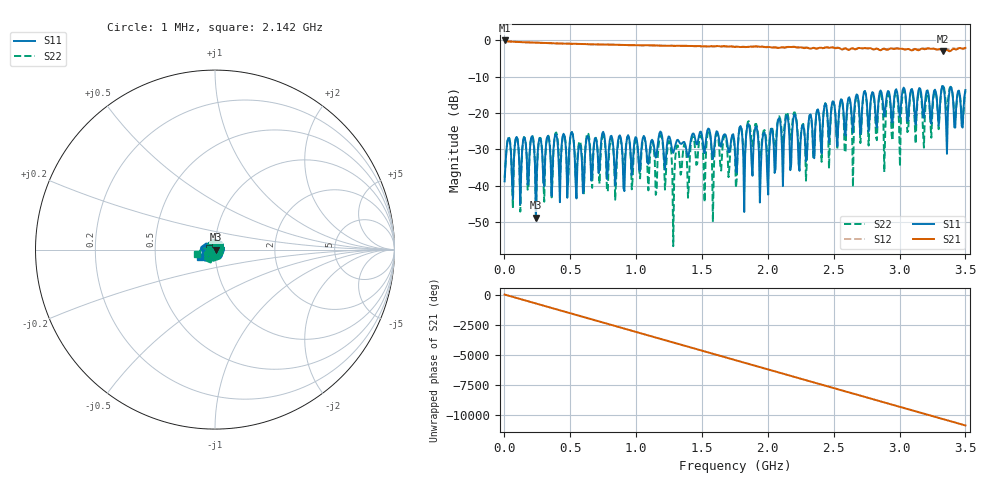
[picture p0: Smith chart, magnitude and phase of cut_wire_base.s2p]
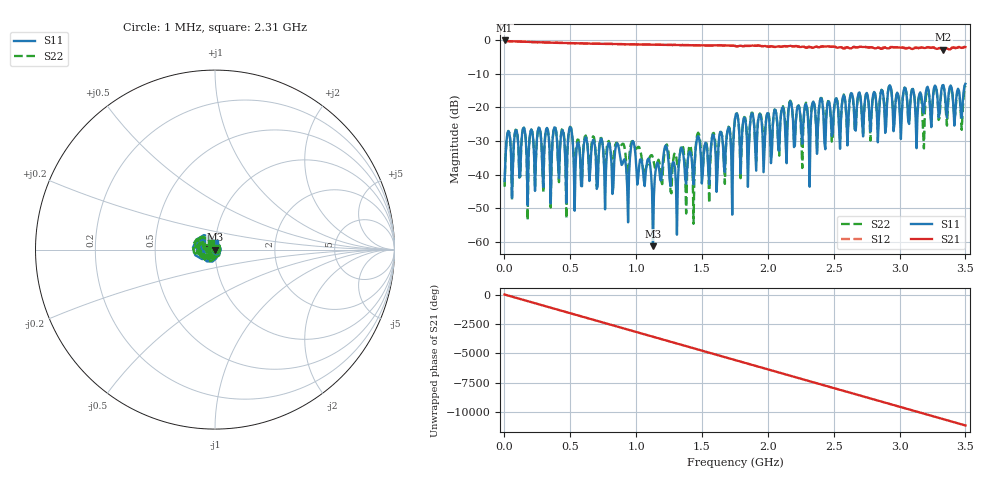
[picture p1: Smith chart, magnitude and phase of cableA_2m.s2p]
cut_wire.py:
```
#%%
# import serdespy as sdp
import numpy as np
import matplotlib.pyplot as plt
import skrf as rf
import scipy as sp


# %%

cable_cut_wire_base =       './sparams/cut/cut_wire_base.s2p'
cable_cut_wire_copper =     './sparams/cut/cut_wire_copper.s2p'
cable_cut_wire_bare =       './sparams/cut/cut_wire_copper_bare.s2p'
cable_cut_wire_copper_ur1 = './sparams/cut/cut_wire_copper_ur1.s2p'
cable_cut_wire_copper_ur2 = './sparams/cut/cut_wire_copper_ur2.s2p'
cable_cut_wire_copper_ur3 = './sparams/cut/cut_wire_copper_ur3.s2p'



# %%
nw = rf.Network('./sparams/cableA_2m.s2p')
nw.s22.plot_z_time_step(0, 0, label='meas')
plt.ylim([45, 55])
# nw.s22.plot_s_db()
plt.grid(True)
# %%

nw1 = rf.Network(cable_cut_wire_base)
nw2 = rf.Network(cable_cut_wire_copper)
nw3 = rf.Network(cable_cut_wire_copper_ur1)
nw4 = rf.Network(cable_cut_wire_copper_ur2)
nw5 = rf.Network(cable_cut_wire_copper_ur3)
nw6 = rf.Network(cable_cut_wire_bare)

nw1.s22.plot_s_db(linewidth = 1)
nw2.s22.plot_s_db(linewidth = 1)
nw3.s22.plot_s_db(linewidth = 1)
nw4.s22.plot_s_db(linewidth = 1)
nw5.s22.plot_s_db(linewidth = 1)
nw6.s22.plot_s_db(linewidth = 1)

plt.grid(True)

import numpy as np
import matplotlib.pyplot as plt


def channel_gmsl2(f):
    if f >= 2e6 and f < 10e6:
        return -6 - 0.9 * np.sqrt(f * 1e-6)
    elif f >= 10e6 and f < 200e6:
        return -(14.2 + 0.28 * np.sqrt(f * 1e-6) + 0.8 * (f * 1e-9))
    elif f >= 200e6 and f < 400e6:
        return -18.3 + 0.02 * ((f * 1e-6) - 200)
    elif f >= 400e6 and f < 1.5e9:
        return 5.7e-3 * (f * 1e-6) - 16.6
    elif f >= 1.5e9 and f < 3.5e9:
        return -8
    
def channel_gmsl3_short(f):
    if f >= 2e6 and f < 10e6:
        return -9 - 0.9 * (f * 1e-6)
    elif f >= 10e6 and f < 800e6:
        return -18
    elif f >= 800e6 and f < 3e9:
        return -16.9 + 8 * (f * 1e-9 - 1) / 1.5
    elif f >= 3e9 and f < 3.5e9:
        return -6.2
    
def channel_gmsl3_long(f):
    if f >= 2e6 and f < 10e6:
        return -9 - 0.9 * (f * 1e-6)
    elif f >= 10e6 and f < 1e9:
        return -18
    elif f >= 1e9 and f < 2.5e9:
        return -23.33 + 5.33 * (f * 1e-9)
    elif f >= 2.5e9 and f < 3.5e9:
        return -10


f = np.arange(2e6, 3.5e9, 1e4)
il_gmsl2 = np.vectorize(channel_gmsl2)(f)
il_gmsl3_short = np.vectorize(channel_gmsl3_short)(f)
il_gmsl3_long = np.vectorize(channel_gmsl3_long)(f)


plt.plot(f, il_gmsl2, 'r-')
plt.plot(f, il_gmsl3_short, 'k-')
plt.plot(f, il_gmsl3_long, 'g-')


plt.title('Maximum Pin-to-Pin Return Loss')
plt.xlabel('Frequency (GHz)')
plt.ylabel('Return Loss (dB)')
plt.axis([0, 3.5e9, -50, 0])
plt.grid(True)
plt.show()


# %%
```
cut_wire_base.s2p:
# GHZ S RI R 50.000000000000
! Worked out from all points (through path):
!   501 points, 1 MHz to 3.5 GHz, reference 50 ohm
!   highest |S21| = -0.02 dB at 1 MHz (marker M1); lowest = -3.0 dB at 3.332 GHz (marker M2)
!   group delay of S21, straight-line fit = 8.65 ns
!   lowest |S11| = -48.8 dB at 238.9 MHz (marker M3), VSWR 1.01, Z = 50.4 + j0.00122 ohm
!   |S11| at or under -10 dB: start of sweep to end of sweep
!   |S22| runs from -56.7 to -12.3 dB; largest |S21 - S12| = 0.046
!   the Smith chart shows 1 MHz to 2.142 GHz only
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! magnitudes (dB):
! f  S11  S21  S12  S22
! 1 MHz  -38.8  0.0  0.0  -37.8
! 210.9 MHz  -26.4  -0.6  -0.6  -26.2
! 238.9 MHz  -48.8  -0.6  -0.6  -49.5
! 392.9 MHz  -25.9  -0.8  -0.8  -25.4
! 595.8 MHz  -42.1  -1.0  -1.0  -40.2
! 1.191 GHz  -25.4  -1.5  -1.5  -26.2
! 1.282 GHz  -31.0  -1.5  -1.5  -56.7
! 1.429 GHz  -25.7  -1.5  -1.6  -26.5
! 1.75 GHz  -30.1  -1.8  -1.7  -31.5
! 3.332 GHz  -12.7  -3.0  -2.7  -12.3
! 3.5 GHz  -13.7  -2.0  -2.2  -13.9
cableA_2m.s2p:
# GHZ S RI R 50.000000000000
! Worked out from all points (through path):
!   501 points, 1 MHz to 3.5 GHz, reference 50 ohm
!   highest |S21| = -0.05 dB at 1 MHz (marker M1); lowest = -2.8 dB at 3.332 GHz (marker M2)
!   group delay of S21, straight-line fit = 8.81 ns
!   lowest |S11| = -61.3 dB at 1.128 GHz (marker M3), VSWR 1.00, Z = 50 - j0.0795 ohm
!   |S11| at or under -10 dB: start of sweep to end of sweep
!   |S22| runs from -54.6 to -13.4 dB; largest |S21 - S12| = 0.029
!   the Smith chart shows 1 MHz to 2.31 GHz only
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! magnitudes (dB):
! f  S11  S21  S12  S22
! 1 MHz  -41.9  0.0  -0.1  -43.6
! 28.99 MHz  -27.0  -0.2  -0.3  -27.0
! 497.9 MHz  -25.8  -0.9  -0.9  -25.8
! 931.7 MHz  -43.6  -1.2  -1.2  -41.9
! 973.7 MHz  -30.0  -1.2  -1.2  -30.1
! 1.128 GHz  -61.3  -1.3  -1.3  -35.0
! 1.226 GHz  -31.3  -1.4  -1.4  -31.3
! 1.31 GHz  -57.9  -1.4  -1.4  -36.2
! 1.75 GHz  -23.4  -1.7  -1.7  -23.4
! 3.332 GHz  -13.3  -2.8  -2.6  -13.5
! 3.5 GHz  -13.0  -2.0  -2.1  -13.5
